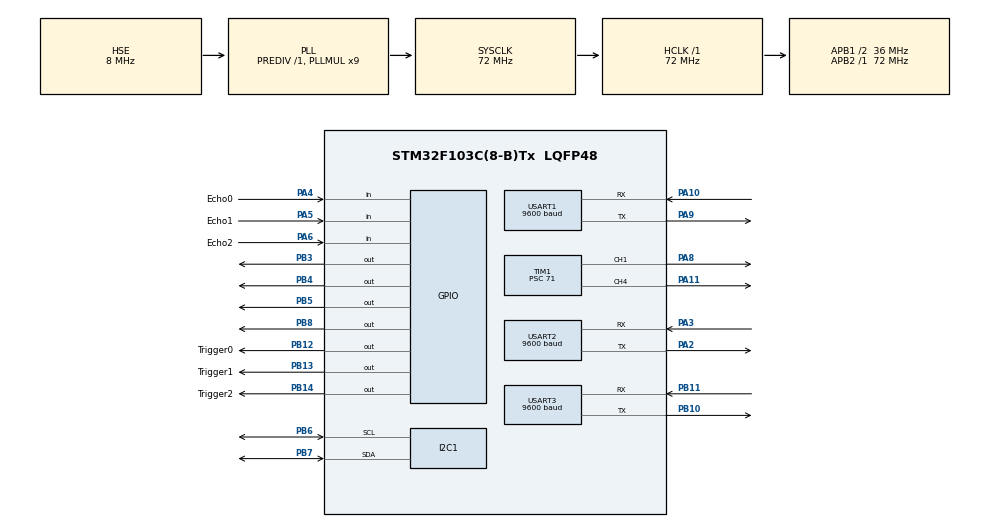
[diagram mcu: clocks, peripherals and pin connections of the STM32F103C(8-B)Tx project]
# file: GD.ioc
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Mcu.Family=STM32F1
Mcu.Name=STM32F103C(8-B)Tx
Mcu.Package=LQFP48
NVIC.PriorityGroup=NVIC_PRIORITYGROUP_4
NVIC.TIM2_IRQn=true\:0\:0\:false\:false\:true\:true\:true\:true
NVIC.USART1_IRQn=true\:0\:0\:false\:false\:true\:true\:true\:true
NVIC.USART2_IRQn=true\:0\:0\:false\:false\:true\:true\:true\:true
NVIC.USART3_IRQn=true\:0\:0\:false\:false\:true\:true\:true\:true
PA10.Mode=Asynchronous
PA10.Signal=USART1_RX
PA11.Signal=S_TIM1_CH4
PA13.Mode=Serial_Wire
PA13.Signal=SYS_JTMS-SWDIO
PA14.Mode=Serial_Wire
PA14.Signal=SYS_JTCK-SWCLK
PA2.Mode=Asynchronous
PA2.Signal=USART2_TX
PA3.Mode=Asynchronous
PA3.Signal=USART2_RX
PA4.GPIO_Label=Echo0
PA4.Signal=GPIO_Input
PA5.GPIO_Label=Echo1
PA5.Signal=GPIO_Input
PA6.GPIO_Label=Echo2
PA6.Signal=GPIO_Input
PA8.Signal=S_TIM1_CH1
PA9.Mode=Asynchronous
PA9.Signal=USART1_TX
PB10.Mode=Asynchronous
PB10.Signal=USART3_TX
PB11.Mode=Asynchronous
PB11.Signal=USART3_RX
PB12.GPIO_Label=Trigger0
PB12.Signal=GPIO_Output
PB13.GPIO_Label=Trigger1
PB13.Signal=GPIO_Output
PB14.GPIO_Label=Trigger2
PB14.Signal=GPIO_Output
PB3.Signal=GPIO_Output
PB4.Signal=GPIO_Output
PB5.Signal=GPIO_Output
PB6.Mode=I2C
PB6.Signal=I2C1_SCL
PB7.Mode=I2C
PB7.Signal=I2C1_SDA
PB8.Signal=GPIO_Output
PD0-OSC_IN.Mode=HSE-External-Oscillator
PD0-OSC_IN.Signal=RCC_OSC_IN
PD1-OSC_OUT.Mode=HSE-External-Oscillator
PD1-OSC_OUT.Signal=RCC_OSC_OUT
ProjectManager.HeapSize=0x200
ProjectManager.StackSize=0x400
ProjectManager.TargetToolchain=STM32CubeIDE
RCC.AHBFreq_Value=72000000
RCC.APB1CLKDivider=RCC_HCLK_DIV2
RCC.APB1Freq_Value=36000000
RCC.APB1TimFreq_Value=72000000
RCC.APB2Freq_Value=72000000
RCC.APB2TimFreq_Value=72000000
RCC.HCLKFreq_Value=72000000
RCC.PLLMUL=RCC_PLL_MUL9
RCC.PLLSourceVirtual=RCC_PLLSOURCE_HSE
RCC.SYSCLKFreq_VALUE=72000000
RCC.SYSCLKSource=RCC_SYSCLKSOURCE_PLLCLK
RCC.USBFreq_Value=72000000
SH.S_TIM1_CH1.0=TIM1_CH1,PWM Generation1 CH1
SH.S_TIM1_CH4.0=TIM1_CH4,PWM Generation4 CH4
TIM1.Channel-PWM\ Generation1\ CH1=TIM_CHANNEL_1
TIM1.Channel-PWM\ Generation4\ CH4=TIM_CHANNEL_4
TIM1.Period=999
TIM1.Prescaler=71
TIM2.Period=57
TIM2.Prescaler=72
USART1.BaudRate=9600
USART1.VirtualMode=VM_ASYNC
USART2.BaudRate=9600
USART2.VirtualMode=VM_ASYNC
USART3.BaudRate=9600
USART3.VirtualMode=VM_ASYNC
VP_TIM1_VS_ClockSourceINT.Mode=Internal
VP_TIM2_VS_ClockSourceINT.Mode=Internal
board=custom

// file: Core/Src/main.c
/* USER CODE BEGIN Header */
/**
 ******************************************************************************
 * @file           : main.c
 * @brief          : Main program body
 ******************************************************************************
 * @attention
 *
 * <h2><center>&copy; Copyright (c) 2020 STMicroelectronics.
 * All rights reserved.</center></h2>
 *
 * This software component is licensed by ST under BSD 3-Clause license,
 * the "License"; You may not use this file except in compliance with the
 * License. You may obtain a copy of the License at:
 *                        opensource.org/licenses/BSD-3-Clause
 *
 ******************************************************************************
 */
/* USER CODE END Header */
#include "main.h"

/* USER CODE BEGIN Includes */
#include "ACC.h"
#include "Ultrasonic.h"
#include "Motor.h"
#include "math.h"

#include "IMA.h"
int16_t accelerate_g ;
int16_t roll_x ;
int16_t roll_y ;
int16_t x_acc ;
int16_t y_acc  ;
int16_t z_acc  ;
static uint32_t lastSendMs ;
const uint32_t SEND_INTERVAL_MS = 400;   /* ≥ 5 events per second max */
const char *startupMsg = "ACCIDENT DETECTED\n";

#define RX_BUFFER_SIZE 64  /* <MOD> increased from 5 → 64 to avoid overflow */
/* USER CODE BEGIN PD */
volatile uint8_t rxReady = 0;      // Set to 1 when a full line is ready
volatile uint8_t rxSize  = 0;      // Length of the received line
static uint8_t rxChar;                      /* <MOD> receive one byte */
static uint8_t rxIndex = 0;                 /* <MOD> buffer write index */
char    rxBuffer[RX_BUFFER_SIZE];    /* <MOD> line‑oriented buffer */
static uint8_t rxChar1;                      /* <MOD> receive one byte */
static uint8_t rxIndex1 = 0;                 /* <MOD> buffer write index */
char    rxBuffer1[RX_BUFFER_SIZE];    /* <MOD> line‑oriented buffer */

/* USER CODE END Includes */

/* USER CODE BEGIN PTD */
uint32_t Current_Speed = 70;
/* USER CODE END PTD */

/* USER CODE BEGIN PM */
extern Struct_MPU6050 mpuData;
//extern char GGA[100];
//extern char RMC[100];
//extern GPSSTRUCT gpsData;
//extern CollisionDetection collisionData;
//extern int flagGGA, flagRMC;
//extern char lcdBuffer[50];
//extern int VCCTimeout ;
/* USER CODE END PM */

I2C_HandleTypeDef hi2c1;

TIM_HandleTypeDef htim1;
TIM_HandleTypeDef htim2;

UART_HandleTypeDef huart1;
UART_HandleTypeDef huart2;
UART_HandleTypeDef huart3;

void SystemClock_Config(void);
static void MX_GPIO_Init(void);
static void MX_I2C1_Init(void);
static void MX_TIM1_Init(void);
static void MX_TIM2_Init(void);
static void MX_USART1_UART_Init(void);
static void MX_USART2_UART_Init(void);
static void MX_USART3_UART_Init(void);

int main(void)
{

	/* MCU Configuration--------------------------------------------------------*/

	/* Reset of all peripherals, Initializes the Flash interface and the Systick. */
	HAL_Init();

	/* Configure the system clock */
	SystemClock_Config();
	HAL_Delay(1000);

	/* Initialize all configured peripherals */
	MX_GPIO_Init();
	MX_I2C1_Init();
	MX_TIM1_Init();
	MX_TIM2_Init();
	MX_USART1_UART_Init();
	MX_USART2_UART_Init();
	MX_USART3_UART_Init();
	/* USER CODE BEGIN 2 */

		// Initialize the ACC system
		      ACC_Init();

		      // Enable ACC with 70% target speed
		      ACC_Enable(70);

		      // Set following distance to 60cm
		      ACC_SetFollowingDistance(60);

//	Motors_Init();
//	Set_Speed(70);
//	Move_Forward();

	lcd_init();

	Ringbuf_init();

	MPU6050_Init(&hi2c1);

	uint16_t distancesInCm[3];
	/* USER CODE END 2 */
	HAL_UART_Receive_IT(&huart3, &rxChar1, 1);

	/* Infinite loop */
	/* USER CODE BEGIN WHILE */
	HAL_GPIO_WritePin(GPIOC, GPIO_PIN_13, GPIO_PIN_RESET);
	HAL_GPIO_WritePin(GPIOC, GPIO_PIN_14, GPIO_PIN_RESET);
	HAL_GPIO_WritePin(GPIOC, GPIO_PIN_15, GPIO_PIN_RESET);

	while (1)
	{
		HAL_Delay(10);
		/* USER CODE END WHILE */
		/* USER CODE BEGIN 3 */

		// Read MPU6050 data
		MPU6050_ReadAcceleration(&hi2c1, &mpuData);
		//	IMA_Update();
		x_acc = (mpuData.acc_x_raw / 8192) ;
		y_acc = (mpuData.acc_y_raw / 8192) ;
		z_acc = (mpuData.acc_z_raw / 8192) ;
		accelerate_g  = sqrt((x_acc^2) + (y_acc^2) + (z_acc^2) ) ;
		roll_x = (mpuData.gyro_x_raw / 131 ) ;
		roll_y = (mpuData.gyro_y_raw / 131 ) ;
		if ( (accelerate_g > 2) || (roll_x > 200) || (roll_y > 200))
		{
			uint32_t now = HAL_GetTick();
			if ((now - lastSendMs) >= SEND_INTERVAL_MS)
			{
				HAL_UART_Transmit(&huart3, (uint8_t *)startupMsg,strlen(startupMsg), HAL_MAX_DELAY);
				lastSendMs = now;
			}  	  	  }
		/* USER CODE BEGIN 3 */

		// 		 Read GPS data
		for(uint16_t i=0; i<3; i++)
		{
			sensor = i;//update sensor index in timer2
			distancesInCm[i] = measureDistance(triggerPorts[i], triggerPins[i], echoPorts[i], echoPins[i]);

		}

     	ACC_Update(distancesInCm[0]);
		Turn_Left(distancesInCm[1], distancesInCm[2], 70);

		Turn_Right(distancesInCm[1], distancesInCm[2], 70);

	}
	/* USER CODE END 3 */
}

void SystemClock_Config(void)
{
	RCC_OscInitTypeDef RCC_OscInitStruct = {0};
	RCC_ClkInitTypeDef RCC_ClkInitStruct = {0};

	/** Initializes the RCC Oscillators according to the specified parameters
	 * in the RCC_OscInitTypeDef structure.
	 */
	RCC_OscInitStruct.OscillatorType = RCC_OSCILLATORTYPE_HSE;
	RCC_OscInitStruct.HSEState = RCC_HSE_ON;
	RCC_OscInitStruct.HSEPredivValue = RCC_HSE_PREDIV_DIV1;
	RCC_OscInitStruct.HSIState = RCC_HSI_ON;
	RCC_OscInitStruct.PLL.PLLState = RCC_PLL_ON;
	RCC_OscInitStruct.PLL.PLLSource = RCC_PLLSOURCE_HSE;
	RCC_OscInitStruct.PLL.PLLMUL = RCC_PLL_MUL9;
	if (HAL_RCC_OscConfig(&RCC_OscInitStruct) != HAL_OK)
	{
		Error_Handler();
	}

	/** Initializes the CPU, AHB and APB buses clocks
	 */
	RCC_ClkInitStruct.ClockType = RCC_CLOCKTYPE_HCLK|RCC_CLOCKTYPE_SYSCLK
			|RCC_CLOCKTYPE_PCLK1|RCC_CLOCKTYPE_PCLK2;
	RCC_ClkInitStruct.SYSCLKSource = RCC_SYSCLKSOURCE_PLLCLK;
	RCC_ClkInitStruct.AHBCLKDivider = RCC_SYSCLK_DIV1;
	RCC_ClkInitStruct.APB1CLKDivider = RCC_HCLK_DIV2;
	RCC_ClkInitStruct.APB2CLKDivider = RCC_HCLK_DIV1;

	if (HAL_RCC_ClockConfig(&RCC_ClkInitStruct, FLASH_LATENCY_2) != HAL_OK)
	{
		Error_Handler();
	}
}

static void MX_I2C1_Init(void)
{

	hi2c1.Instance = I2C1;
	hi2c1.Init.ClockSpeed = 100000;
	hi2c1.Init.DutyCycle = I2C_DUTYCYCLE_2;
	hi2c1.Init.OwnAddress1 = 0;
	hi2c1.Init.AddressingMode = I2C_ADDRESSINGMODE_7BIT;
	hi2c1.Init.DualAddressMode = I2C_DUALADDRESS_DISABLE;
	hi2c1.Init.OwnAddress2 = 0;
	hi2c1.Init.GeneralCallMode = I2C_GENERALCALL_DISABLE;
	hi2c1.Init.NoStretchMode = I2C_NOSTRETCH_DISABLE;
	if (HAL_I2C_Init(&hi2c1) != HAL_OK)
	{
		Error_Handler();
	}

}

static void MX_TIM1_Init(void)
{

	TIM_ClockConfigTypeDef sClockSourceConfig = {0};
	TIM_MasterConfigTypeDef sMasterConfig = {0};
	TIM_OC_InitTypeDef sConfigOC = {0};
	TIM_BreakDeadTimeConfigTypeDef sBreakDeadTimeConfig = {0};

	htim1.Instance = TIM1;
	htim1.Init.Prescaler = 71;
	htim1.Init.CounterMode = TIM_COUNTERMODE_UP;
	htim1.Init.Period = 999;
	htim1.Init.ClockDivision = TIM_CLOCKDIVISION_DIV1;
	htim1.Init.RepetitionCounter = 0;
	htim1.Init.AutoReloadPreload = TIM_AUTORELOAD_PRELOAD_DISABLE;
	if (HAL_TIM_Base_Init(&htim1) != HAL_OK)
	{
		Error_Handler();
	}
	sClockSourceConfig.ClockSource = TIM_CLOCKSOURCE_INTERNAL;
	if (HAL_TIM_ConfigClockSource(&htim1, &sClockSourceConfig) != HAL_OK)
	{
		Error_Handler();
	}
	if (HAL_TIM_PWM_Init(&htim1) != HAL_OK)
	{
		Error_Handler();
	}
	sMasterConfig.MasterOutputTrigger = TIM_TRGO_RESET;
	sMasterConfig.MasterSlaveMode = TIM_MASTERSLAVEMODE_DISABLE;
	if (HAL_TIMEx_MasterConfigSynchronization(&htim1, &sMasterConfig) != HAL_OK)
	{
		Error_Handler();
	}
	sConfigOC.OCMode = TIM_OCMODE_PWM1;
	sConfigOC.Pulse = 0;
	sConfigOC.OCPolarity = TIM_OCPOLARITY_HIGH;
	sConfigOC.OCNPolarity = TIM_OCNPOLARITY_HIGH;
	sConfigOC.OCFastMode = TIM_OCFAST_DISABLE;
	sConfigOC.OCIdleState = TIM_OCIDLESTATE_RESET;
	sConfigOC.OCNIdleState = TIM_OCNIDLESTATE_RESET;
	if (HAL_TIM_PWM_ConfigChannel(&htim1, &sConfigOC, TIM_CHANNEL_1) != HAL_OK)
	{
		Error_Handler();
	}
	if (HAL_TIM_PWM_ConfigChannel(&htim1, &sConfigOC, TIM_CHANNEL_4) != HAL_OK)
	{
		Error_Handler();
	}
	sBreakDeadTimeConfig.OffStateRunMode = TIM_OSSR_DISABLE;
	sBreakDeadTimeConfig.OffStateIDLEMode = TIM_OSSI_DISABLE;
	sBreakDeadTimeConfig.LockLevel = TIM_LOCKLEVEL_OFF;
	sBreakDeadTimeConfig.DeadTime = 0;
	sBreakDeadTimeConfig.BreakState = TIM_BREAK_DISABLE;
	sBreakDeadTimeConfig.BreakPolarity = TIM_BREAKPOLARITY_HIGH;
	sBreakDeadTimeConfig.AutomaticOutput = TIM_AUTOMATICOUTPUT_DISABLE;
	if (HAL_TIMEx_ConfigBreakDeadTime(&htim1, &sBreakDeadTimeConfig) != HAL_OK)
	{
		Error_Handler();
	}
	HAL_TIM_MspPostInit(&htim1);

}

static void MX_TIM2_Init(void)
{

	TIM_ClockConfigTypeDef sClockSourceConfig = {0};
	TIM_MasterConfigTypeDef sMasterConfig = {0};

	htim2.Instance = TIM2;
	htim2.Init.Prescaler = 72;
	htim2.Init.CounterMode = TIM_COUNTERMODE_UP;
	htim2.Init.Period = 57;
	htim2.Init.ClockDivision = TIM_CLOCKDIVISION_DIV1;
	htim2.Init.AutoReloadPreload = TIM_AUTORELOAD_PRELOAD_DISABLE;
	if (HAL_TIM_Base_Init(&htim2) != HAL_OK)
	{
		Error_Handler();
	}
	sClockSourceConfig.ClockSource = TIM_CLOCKSOURCE_INTERNAL;
	if (HAL_TIM_ConfigClockSource(&htim2, &sClockSourceConfig) != HAL_OK)
	{
		Error_Handler();
	}
	sMasterConfig.MasterOutputTrigger = TIM_TRGO_RESET;
	sMasterConfig.MasterSlaveMode = TIM_MASTERSLAVEMODE_DISABLE;
	if (HAL_TIMEx_MasterConfigSynchronization(&htim2, &sMasterConfig) != HAL_OK)
	{
		Error_Handler();
	}

}
void HAL_UART_RxCpltCallback(UART_HandleTypeDef *huart)
{
	if (huart == &huart2)                      // Make sure this is USART2
	{
		/* 1. Store byte if there is still space */
		if (rxIndex < RX_BUFFER_SIZE - 1)
			rxBuffer[rxIndex++] = rxChar;

		/* 2. End-of-message detected (we use '!' as terminator) */
		if (rxChar == '!')
		{
			rxBuffer[rxIndex] = '\0';          // Null-terminate the C-string
			rxSize  = rxIndex;                 // Save line length
			rxReady = 1;                       // Tell main code that line is ready
			rxIndex = 0;                       // Reset index for the next line
		}

		/* 3. Re-arm USART2 for the next byte */
		HAL_UART_Receive_IT(&huart2, &rxChar, 1);
	}
	if(huart == &huart3){
		/* 1. Store byte if there is still space */
		if (rxIndex1 < RX_BUFFER_SIZE - 1)
			rxBuffer1[rxIndex1++] = rxChar1;

		/* 2. End-of-message detected (we use '!' as terminator) */
		if (rxChar1 == '\n')
		{
			rxBuffer1[rxIndex1] = '\0';          // Null-terminate the C-string
			//rxSize  = rxIndex;                 // Save line length
			rxIndex1 = 0;                       // Reset index for the next line
		}

		/* 3. Re-arm USART2 for the next byte */
		HAL_UART_Receive_IT(&huart3, &rxChar1, 1);
	}
}

static void MX_USART1_UART_Init(void)
{

	huart1.Instance = USART1;
	huart1.Init.BaudRate = 9600;
	huart1.Init.WordLength = UART_WORDLENGTH_8B;
	huart1.Init.StopBits = UART_STOPBITS_1;
	huart1.Init.Parity = UART_PARITY_NONE;
	huart1.Init.Mode = UART_MODE_TX_RX;
	huart1.Init.HwFlowCtl = UART_HWCONTROL_NONE;
	huart1.Init.OverSampling = UART_OVERSAMPLING_16;
	if (HAL_UART_Init(&huart1) != HAL_OK)
	{
		Error_Handler();
	}

}

static void MX_USART2_UART_Init(void)
{

	huart2.Instance = USART2;
	huart2.Init.BaudRate = 9600;
	huart2.Init.WordLength = UART_WORDLENGTH_8B;
	huart2.Init.StopBits = UART_STOPBITS_1;
	huart2.Init.Parity = UART_PARITY_NONE;
	huart2.Init.Mode = UART_MODE_TX_RX;
	huart2.Init.HwFlowCtl = UART_HWCONTROL_NONE;
	huart2.Init.OverSampling = UART_OVERSAMPLING_16;
	if (HAL_UART_Init(&huart2) != HAL_OK)
	{
		Error_Handler();
	}

}

static void MX_USART3_UART_Init(void)
{

	huart3.Instance = USART3;
	huart3.Init.BaudRate = 9600;
	huart3.Init.WordLength = UART_WORDLENGTH_8B;
	huart3.Init.StopBits = UART_STOPBITS_1;
	huart3.Init.Parity = UART_PARITY_NONE;
	huart3.Init.Mode = UART_MODE_TX_RX;
	huart3.Init.HwFlowCtl = UART_HWCONTROL_NONE;
	huart3.Init.OverSampling = UART_OVERSAMPLING_16;
	if (HAL_UART_Init(&huart3) != HAL_OK)
	{
		Error_Handler();
	}

}

static void MX_GPIO_Init(void)
{
	GPIO_InitTypeDef GPIO_InitStruct = {0};

	/* GPIO Ports Clock Enable */
	__HAL_RCC_GPIOD_CLK_ENABLE();
	__HAL_RCC_GPIOA_CLK_ENABLE();
	__HAL_RCC_GPIOB_CLK_ENABLE();

	/*Configure GPIO pin Output Level */
	HAL_GPIO_WritePin(GPIOB, Trigger0_Pin|Trigger1_Pin|Trigger2_Pin|GPIO_PIN_3
			|GPIO_PIN_4|GPIO_PIN_5|GPIO_PIN_8, GPIO_PIN_RESET);

	/*Configure GPIO pins : Echo0_Pin Echo1_Pin Echo2_Pin */
	GPIO_InitStruct.Pin = Echo0_Pin|Echo1_Pin|Echo2_Pin;
	GPIO_InitStruct.Mode = GPIO_MODE_INPUT;
	GPIO_InitStruct.Pull = GPIO_NOPULL;
	HAL_GPIO_Init(GPIOA, &GPIO_InitStruct);

	/*Configure GPIO pins : Trigger0_Pin Trigger1_Pin Trigger2_Pin PB3
                           PB4 PB5 PB8 */
	GPIO_InitStruct.Pin = Trigger0_Pin|Trigger1_Pin|Trigger2_Pin|GPIO_PIN_3
			|GPIO_PIN_4|GPIO_PIN_5|GPIO_PIN_8;
	GPIO_InitStruct.Mode = GPIO_MODE_OUTPUT_PP;
	GPIO_InitStruct.Pull = GPIO_NOPULL;
	GPIO_InitStruct.Speed = GPIO_SPEED_FREQ_LOW;
	HAL_GPIO_Init(GPIOB, &GPIO_InitStruct);

}

void Error_Handler(void)
{
}
